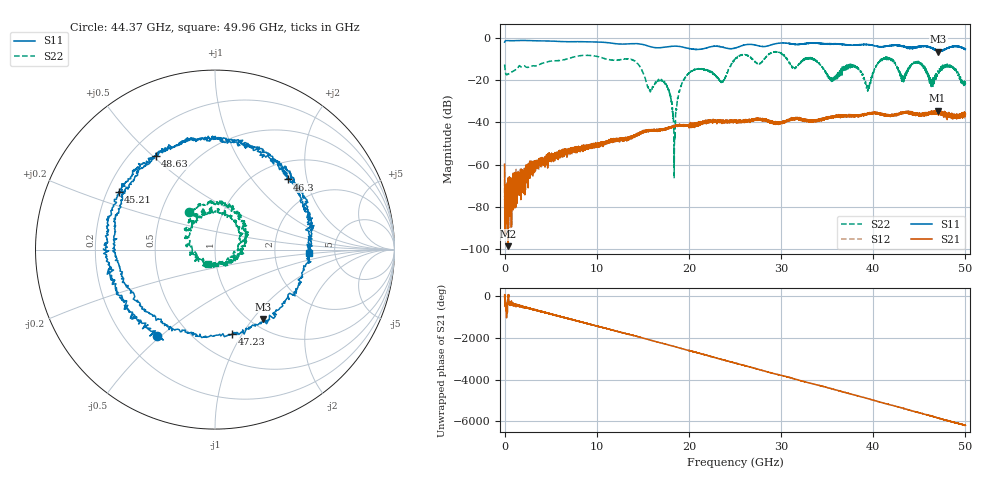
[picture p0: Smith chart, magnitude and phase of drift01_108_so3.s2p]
!Created with skrf (http://scikit-rf.org).
# Hz S RI R 50.0
!freq ReS11 ImS11 ReS21 ImS21 ReS12 ImS12 ReS22 ImS22
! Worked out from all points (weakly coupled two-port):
!   10001 points, 300 kHz to 50 GHz, reference 50 ohm
!   highest |S21| = -34.48 dB at 46.98 GHz (marker M1); lowest = -98.6 dB at 370.3 MHz (marker M2)
!   lowest |S11| = -6.6 dB at 47.07 GHz (marker M3), VSWR 2.77, Z = 56.6 - j56.1 ohm
!   |S11| at or under -10 dB: nowhere
!   |S22| runs from -66.5 to -6.6 dB; largest |S21 - S12| = 0.0038
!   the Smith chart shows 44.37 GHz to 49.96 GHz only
!   S11 on the Smith chart (normalised r, x): 44.37 GHz: 0.34, -0.48; 45.21 GHz: 0.25, +0.26; 46.3 GHz: 1.35, +1.54; 47.23 GHz: 0.74, -0.91; 48.63 GHz: 0.30, +0.51; 49.96 GHz: 3.17, -0.19
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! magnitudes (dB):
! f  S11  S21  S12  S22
! 300 kHz  -2.1  -59.9  -59.6  -12.7
! 370.3 MHz  -1.4  -98.6  -79.6  -17.3
! 8.335 GHz  -1.9  -52.0  -53.1  -8.5
! 16.67 GHz  -4.8  -43.7  -43.9  -20.0
! 17.74 GHz  -4.3  -42.9  -42.6  -24.2
! 18.44 GHz  -4.1  -42.1  -41.7  -48.3
! 19.94 GHz  -5.1  -41.5  -41.7  -17.2
! 23.62 GHz  -4.5  -39.6  -39.9  -20.8
! 25 GHz  -5.0  -40.0  -39.4  -10.4
! 33.34 GHz  -2.6  -39.1  -39.4  -9.9
! 39.45 GHz  -3.3  -36.3  -36.1  -23.5
! 41.67 GHz  -3.8  -36.9  -36.7  -10.0
! 43.19 GHz  -4.0  -35.8  -35.4  -19.0
! 44.37 GHz  -4.8  -35.8  -36.0  -11.9
! 45.21 GHz  -4.1  -36.2  -36.6  -12.6
! 46.3 GHz  -5.0  -35.5  -35.7  -23.1
! 46.98 GHz  -6.3  -34.5  -34.9  -17.0
! 47.07 GHz  -6.6  -35.0  -35.3  -16.2
! 47.23 GHz  -6.4  -34.9  -35.2  -15.2
! 48.63 GHz  -4.2  -37.5  -36.9  -14.3
! 49.96 GHz  -5.7  -35.4  -36.4  -21.2
! 50 GHz  -5.4  -36.1  -36.5  -21.8
